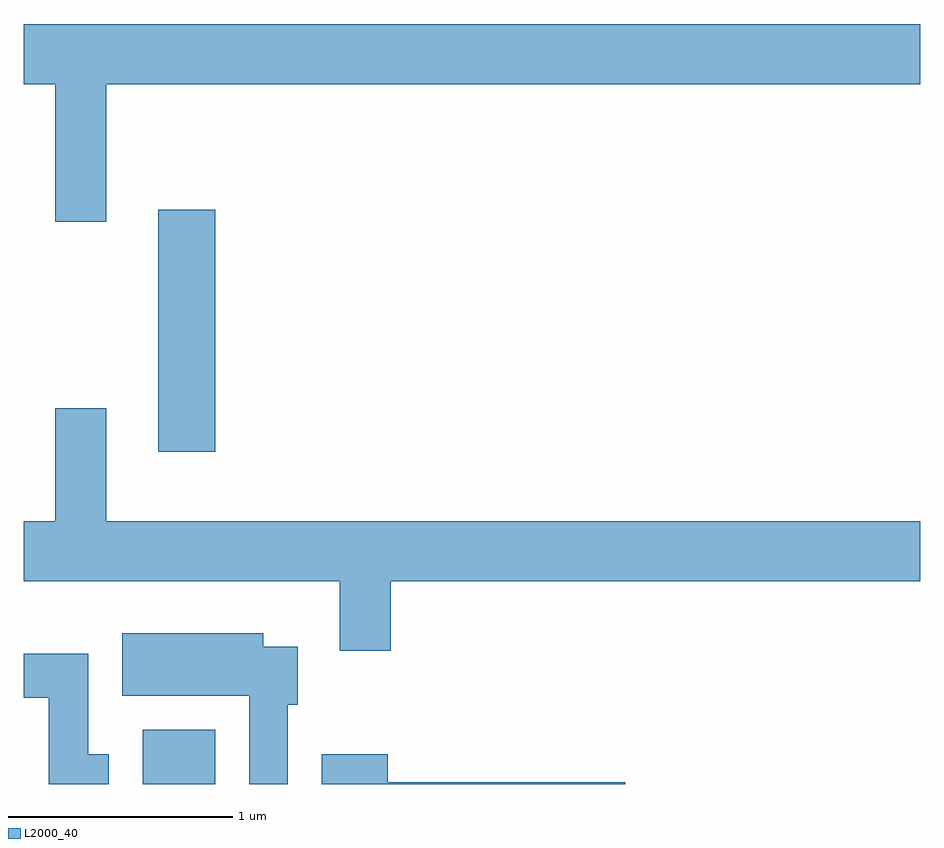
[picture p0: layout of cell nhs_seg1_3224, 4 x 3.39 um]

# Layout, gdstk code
import gdstk
lib = gdstk.Library(unit=1e-6, precision=1e-09)
def R(c, l, rs):  # rectangles x0, y0, x1, y1
    for r in rs: c.add(gdstk.rectangle(r[:2], r[2:], *l))
def P(c, l, *ps):  # polygons
    for p in ps: c.add(gdstk.Polygon(p, *l))
L2000_40 = (2000, 40)

nhs_seg1_3224 = lib.new_cell('nhs_seg1_3224')
R(nhs_seg1_3224, L2000_40, [(282.141,969.712,282.464,969.954), (282.211,971.196,282.464,972.274)])
P(nhs_seg1_3224, L2000_40, [(281.979,972.836),(285.611,972.836),(285.611,973.104),(281.611,973.104),(281.611,972.836),(281.751,972.836),(281.751,972.221),(281.979,972.221)],
  [(283.249,970.616),(285.611,970.616),(285.611,970.884),(281.979,970.884),(281.979,971.389),(281.751,971.389),(281.751,970.884),(281.611,970.884),(281.611,970.616),(283.021,970.616),(283.021,970.306),(283.249,970.306)],
  [(282.789,970.066),(282.834,970.066),(282.834,970.324),(282.679,970.324),(282.679,970.384),(282.051,970.384),(282.051,970.106),(282.616,970.106),(282.616,969.712),(282.789,969.712)],
  [(281.989,969.844),(281.899,969.844),(281.899,970.294),(281.611,970.294),(281.611,970.096),(281.721,970.096),(281.721,969.712),(281.989,969.712)],
  [(284.294,969.719),(283.234,969.719),(283.234,969.844),(282.941,969.844),(282.941,969.712),(284.294,969.712)])

lib.write_gds('nhs_seg1_3224.gds')
